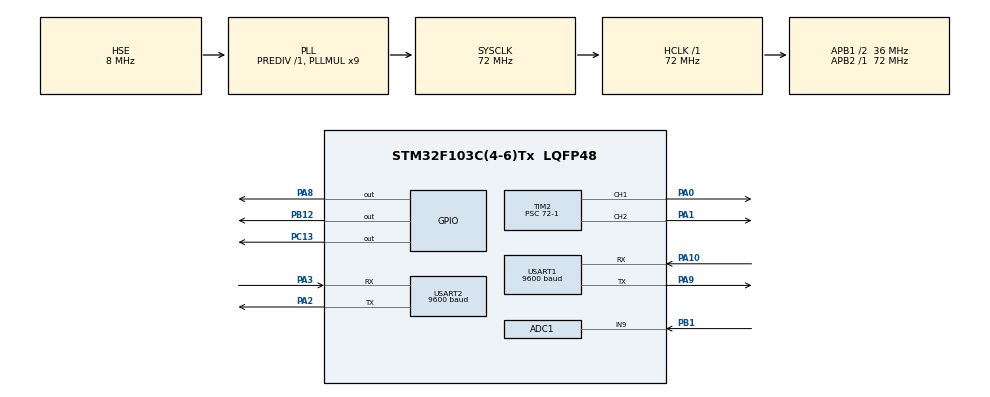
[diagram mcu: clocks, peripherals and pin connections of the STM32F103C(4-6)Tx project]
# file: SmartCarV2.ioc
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ADC1.Channel-0\#ChannelRegularConversion=ADC_CHANNEL_9
ADC1.ContinuousConvMode=ENABLE
ADC1.NbrOfConversionFlag=1
ADC1.Rank-0\#ChannelRegularConversion=1
ADC1.SamplingTime-0\#ChannelRegularConversion=ADC_SAMPLETIME_28CYCLES_5
ADC1.master=1
Mcu.Family=STM32F1
Mcu.Name=STM32F103C(4-6)Tx
Mcu.Package=LQFP48
NVIC.PriorityGroup=NVIC_PRIORITYGROUP_4
NVIC.TIM1_UP_IRQn=true\:0\:0\:false\:false\:true\:true\:true\:true
NVIC.USART1_IRQn=true\:0\:0\:false\:false\:true\:true\:true\:true
NVIC.USART2_IRQn=true\:0\:0\:false\:false\:true\:true\:true\:true
PA0-WKUP.Signal=S_TIM2_CH1_ETR
PA1.Signal=S_TIM2_CH2
PA10.Mode=Asynchronous
PA10.Signal=USART1_RX
PA13.Mode=Serial_Wire
PA13.Signal=SYS_JTMS-SWDIO
PA14.Mode=Serial_Wire
PA14.Signal=SYS_JTCK-SWCLK
PA2.Mode=Asynchronous
PA2.Signal=USART2_TX
PA3.Mode=Asynchronous
PA3.Signal=USART2_RX
PA8.PinState=GPIO_PIN_SET
PA8.Signal=GPIO_Output
PA9.Mode=Asynchronous
PA9.Signal=USART1_TX
PB1.Signal=ADCx_IN9
PB12.PinState=GPIO_PIN_SET
PB12.Signal=GPIO_Output
PC13-TAMPER-RTC.GPIO_PuPd=GPIO_PULLUP
PC13-TAMPER-RTC.GPIO_Speed=GPIO_SPEED_FREQ_HIGH
PC13-TAMPER-RTC.PinState=GPIO_PIN_SET
PC13-TAMPER-RTC.Signal=GPIO_Output
PD0-OSC_IN.Mode=HSE-External-Oscillator
PD0-OSC_IN.Signal=RCC_OSC_IN
PD1-OSC_OUT.Mode=HSE-External-Oscillator
PD1-OSC_OUT.Signal=RCC_OSC_OUT
ProjectManager.HeapSize=0x200
ProjectManager.StackSize=0x400
ProjectManager.TargetToolchain=MDK-ARM V5.32
RCC.ADCPresc=RCC_ADCPCLK2_DIV6
RCC.AHBFreq_Value=72000000
RCC.APB1CLKDivider=RCC_HCLK_DIV2
RCC.APB1Freq_Value=36000000
RCC.APB1TimFreq_Value=72000000
RCC.APB2Freq_Value=72000000
RCC.APB2TimFreq_Value=72000000
RCC.HCLKFreq_Value=72000000
RCC.PLLMUL=RCC_PLL_MUL9
RCC.PLLSourceVirtual=RCC_PLLSOURCE_HSE
RCC.SYSCLKFreq_VALUE=72000000
RCC.SYSCLKSource=RCC_SYSCLKSOURCE_PLLCLK
RCC.USBFreq_Value=72000000
SH.ADCx_IN9.0=ADC1_IN9,IN9
SH.S_TIM2_CH1_ETR.0=TIM2_CH1,PWM Generation1 CH1
SH.S_TIM2_CH2.0=TIM2_CH2,PWM Generation2 CH2
TIM1.Period=1000-1
TIM1.Prescaler=72-1
TIM2.Channel-PWM\ Generation1\ CH1=TIM_CHANNEL_1
TIM2.Channel-PWM\ Generation2\ CH2=TIM_CHANNEL_2
TIM2.OCFastMode_PWM-PWM\ Generation1\ CH1=TIM_OCFAST_ENABLE
TIM2.OCFastMode_PWM-PWM\ Generation2\ CH2=TIM_OCFAST_ENABLE
TIM2.OCMode_PWM-PWM\ Generation1\ CH1=TIM_OCMODE_PWM2
TIM2.OCMode_PWM-PWM\ Generation2\ CH2=TIM_OCMODE_PWM2
TIM2.Period=1000-1
TIM2.Prescaler=72-1
USART1.BaudRate=9600
USART1.VirtualMode=VM_ASYNC
USART2.BaudRate=9600
USART2.VirtualMode=VM_ASYNC
VP_TIM1_VS_ClockSourceINT.Mode=Internal
board=custom

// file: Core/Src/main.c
/* USER CODE BEGIN Header */
/**
  ******************************************************************************
  * @file           : main.c
  * @brief          : Main program body
  ******************************************************************************
  * @attention
  *
  * Copyright (c) 2023 STMicroelectronics.
  * All rights reserved.
  *
  * This software is licensed under terms that can be found in the LICENSE file
  * in the root directory of this software component.
  * If no LICENSE file comes with this software, it is provided AS-IS.
  *
  ******************************************************************************
  *@author          : Jiangnan University - 遥遥领先队
  ******************************************************************************
  */
/* USER CODE END Header */
#include "main.h"
#include "adc.h"
#include "tim.h"
#include "usart.h"
#include "gpio.h"

/* USER CODE BEGIN Includes */
#include "BSP_USART.h"
#include "stdio.h"
#include "led.h"
#include "Card.h"
#include "BSP_ADC.h"
#include "PWM.h"
#include "TIMER.h"
#include "Message.h"
/* USER CODE END Includes */

void SystemClock_Config(void);
/* USER CODE BEGIN PFP */
extern uint8_t card_res;
extern uint8_t card_res_flag;
uint8_t chinese_data[60];
int32_t chinese_block_num = 0;
extern CMD Cmd;
int32_t read_block = 4;
uint8_t wait_time = 0;
uint8_t wait_resend_times = 0;
uint32_t led_flash_counts = 0;
uint8_t test = 0;
int32_t led_close_counts = 0;
uint32_t res = 0;
/* USER CODE END PFP */

int main(void)
{

  /* MCU Configuration--------------------------------------------------------*/

  /* Reset of all peripherals, Initializes the Flash interface and the Systick. */
  HAL_Init();

  /* Configure the system clock */
  SystemClock_Config();

  /* Initialize all configured peripherals */
  MX_GPIO_Init();
  MX_USART1_UART_Init();
  MX_USART2_UART_Init();
  MX_ADC1_Init();
  MX_TIM2_Init();
  MX_TIM1_Init();
  /* USER CODE BEGIN 2 */
	LED_Sta( 0 );
	PWM_Init();
	Motor_Control( 0 );

	HAL_UART_Receive_IT(&CARD_HAL_USARTx,(uint8_t *)&card_res, 1);

	// 获取ADC值
	// uint32_t adc_value = 0;
	// for( uint8_t i = 0; i < 20; i++ )
	// {
	// 	adc_value += Get_ADC_Value();
	// 	HAL_Delay( 1 );
	// }
	// adc_value = adc_value/20;
	// res = adc_value >= 4095 ? 5000-5000 : 5000-adc_value*1000/(4095-adc_value);	// 阻值计算

	// 晚启动 1s 时间
	card_res_flag = CARD_FLAG_EXIST;

	// 定时器开启
	Timer_Init();
	#if START_SET == ENABLE
	 LED_Sta( 1 );
	HAL_Delay(800);
	 printf("????");
	#endif
  /* USER CODE END 2 */

  /* Infinite loop */
  /* USER CODE BEGIN WHILE */
  while (1)
  {
		if( card_res_flag == CARD_FLAG_EXIST )
		{
			BufClear( Cmd.block_data );
			ReadBlock( read_block+chinese_block_num );
			while( !__HAL_UART_GET_FLAG( &CARD_HAL_USARTx, UART_FLAG_TC ) );	// 还在发送数据
			card_res_flag = CARD_FLAG_WAIT;
			wait_time = 0;
			wait_resend_times = 0;
		}
		else if( card_res_flag == CARD_FLAG_RESDATA )	// 接收到一段数据
		{
			if( chinese_block_num == 0 && !Cmd.block_data[0] )	// 没有数据
			{
				chinese_block_num = -3;
				card_res_flag = CARD_FLAG_EXIST;
			}
			else if( chinese_block_num == -3 && !Cmd.block_data[0] )	// 没有数据
			{
				LED_Sta(1);                                           //有uid直接亮
				HAL_Delay( 600 );									  //硬件延时
				card_res_flag = CARD_FLAG_NONE;
				printf("UID????????");
				while( !__HAL_UART_GET_FLAG( &HAL_USARTX, UART_FLAG_TC ) );	// 还在发送数据
				HAL_Delay( 200 );
//				read_block++;
//				card_res_flag = CARD_FLAG_EXIST;
//				if( read_block == 10 )
//				{
//					card_res_flag = CARD_FLAG_NONE;
//				}
			}
			else	// 有数据
			{

				if( chinese_block_num == -3 )
				{
					if(Message_setting == ENABLE)
					{
						Usartx_SendString( Cmd.block_data );
						Message_setting = 3;
					}
					while( !__HAL_UART_GET_FLAG( &HAL_USARTX, UART_FLAG_TC ) );	// 还在发送数据
					HAL_Delay( 200 );
					card_res_flag = CARD_FLAG_LEDLIGHT;
					led_close_counts = 10;
				}
				else if( chinese_block_num > 2 )	// 读完整数据
				{
					LED_Sta( 1 );
					if(Message_setting == ENABLE)
					{
						Usartx_SendString( chinese_data );
						Message_setting = 3;
					}
					while( !__HAL_UART_GET_FLAG( &HAL_USARTX, UART_FLAG_TC ) );	// 还在发送数据
//				card_res_flag = CARD_FLAG_NONE;

				BufClear( Cmd.block_data );
//				BufClear_num( Cmd.ReceiveBuffer, 32 );
					HAL_Delay( 500 );
					card_res_flag = CARD_FLAG_LEDLIGHT;
					led_close_counts = 10;
				}
				else
				{
					MessageGet(Cmd.block_data[0],Cmd.block_data[1],Cmd.block_data[2]);
					for( uint8_t i = 0; i < 16; i++ )
					{
						chinese_data[i+chinese_block_num*16] = Cmd.block_data[i];
					}
					chinese_block_num++;
					card_res_flag = CARD_FLAG_EXIST;
				}

			}
		}
		else if( card_res_flag == CARD_FLAG_WAIT )		// 等待模式
		{
			HAL_Delay( 1 );
			wait_time++;
			if( wait_time >= 20 )	// 等待超过20ms
			{
				wait_resend_times ++;
				card_res_flag = CARD_FLAG_EXIST;
			}
			if( wait_resend_times >= 3 )	// 超过3次
			{
				wait_resend_times = 0;
				wait_time = 0;
				card_res_flag = CARD_FLAG_NONE;
			}
		}

		if( card_res_flag == CARD_FLAG_NONE )		// 休眠模式
		{
			BufClear( chinese_data );
			chinese_block_num = 0;
			LED_Sta( 0 );
//			// 暂停滴答时钟，防止通过滴答时钟中断唤醒
//			HAL_SuspendTick();
//			// 进入睡眠模式
//			HAL_PWR_EnterSLEEPMode( PWR_MAINREGULATOR_ON,PWR_SLEEPENTRY_WFI );
//			// 被唤醒，开启滴答时钟
//			HAL_ResumeTick();
			wait_time = 0;
			wait_resend_times = 0;
//			card_res_flag = CARD_FLAG_EXIST;
		}
		else
		{
			if( card_res_flag == CARD_FLAG_LEDLIGHT )
			{
				LED_Sta( 1 );
				ReadCard();
				HAL_Delay( 10 );
			}
		}

//		if( led_flash_counts < 100000 )
//		{
//			led_flash_counts = led_flash_counts + 1;
//			if( led_flash_counts == 100000 )
//			{
//				LED_Sta( 0 );
//			}
//		}

//		HAL_Delay( 1000 );

    /* USER CODE END WHILE */

  }
}

void SystemClock_Config(void)
{
  RCC_OscInitTypeDef RCC_OscInitStruct = {0};
  RCC_ClkInitTypeDef RCC_ClkInitStruct = {0};
  RCC_PeriphCLKInitTypeDef PeriphClkInit = {0};

  /** Initializes the RCC Oscillators according to the specified parameters
  * in the RCC_OscInitTypeDef structure.
  */
  RCC_OscInitStruct.OscillatorType = RCC_OSCILLATORTYPE_HSE;
  RCC_OscInitStruct.HSEState = RCC_HSE_ON;
  RCC_OscInitStruct.HSEPredivValue = RCC_HSE_PREDIV_DIV1;
  RCC_OscInitStruct.HSIState = RCC_HSI_ON;
  RCC_OscInitStruct.PLL.PLLState = RCC_PLL_ON;
  RCC_OscInitStruct.PLL.PLLSource = RCC_PLLSOURCE_HSE;
  RCC_OscInitStruct.PLL.PLLMUL = RCC_PLL_MUL9;
  if (HAL_RCC_OscConfig(&RCC_OscInitStruct) != HAL_OK)
  {
    Error_Handler();
  }

  /** Initializes the CPU, AHB and APB buses clocks
  */
  RCC_ClkInitStruct.ClockType = RCC_CLOCKTYPE_HCLK|RCC_CLOCKTYPE_SYSCLK
                              |RCC_CLOCKTYPE_PCLK1|RCC_CLOCKTYPE_PCLK2;
  RCC_ClkInitStruct.SYSCLKSource = RCC_SYSCLKSOURCE_PLLCLK;
  RCC_ClkInitStruct.AHBCLKDivider = RCC_SYSCLK_DIV1;
  RCC_ClkInitStruct.APB1CLKDivider = RCC_HCLK_DIV2;
  RCC_ClkInitStruct.APB2CLKDivider = RCC_HCLK_DIV1;

  if (HAL_RCC_ClockConfig(&RCC_ClkInitStruct, FLASH_LATENCY_2) != HAL_OK)
  {
    Error_Handler();
  }
  PeriphClkInit.PeriphClockSelection = RCC_PERIPHCLK_ADC;
  PeriphClkInit.AdcClockSelection = RCC_ADCPCLK2_DIV6;
  if (HAL_RCCEx_PeriphCLKConfig(&PeriphClkInit) != HAL_OK)
  {
    Error_Handler();
  }
}

void Error_Handler(void)
{
  __disable_irq();
  while (1)
  {
  }
}
